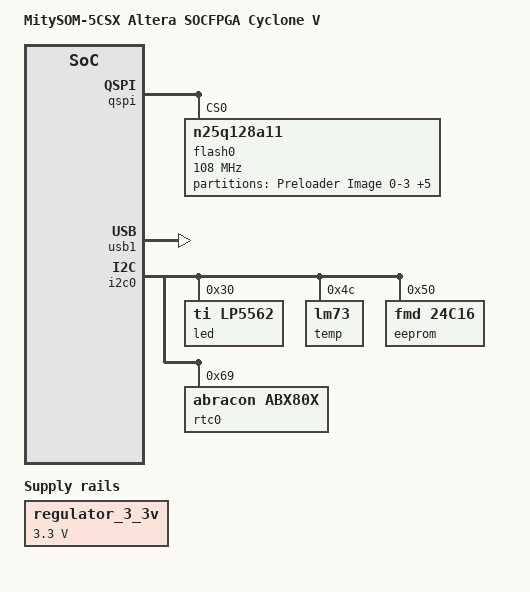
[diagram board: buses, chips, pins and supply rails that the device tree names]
/dts-v1/;
#include "socfpga.dtsi"
/ {
	model = "MitySOM-5CSX Altera SOCFPGA Cyclone V";
	compatible = "altr,socfpga-cyclone5", "altr,socfpga";

	chosen { };

	soc {
		clkmgr@ffd04000 {
			clocks {
				osc1 {
					clock-frequency = <25000000>;
				};
			};
		};

		hps_lw_bus: bus@0ff200000 {
			compatible = "simple-bus";
			reg = <0xFF200000 0x00200000>;
			#address-cells = <1>;
			#size-cells = <1>;
			ranges = <0x0 0xFF200000 0x00200000>;
			status = "disabled";
		};

		regulator_3_3v: 3-3-v-regulator{
			compatible = "regulator-fixed";
			regulator-name = "3.3V";
			regulator-min-microvolt = <3300000>;
			regulator-max-microvolt = <3300000>;
		};

		gpio@ff708000 {
			status = "okay";
		};

		gpio@ff709000 {
			status = "okay";
		}; 
		gpio@ff70a000 {
			status = "okay";
		};

		qspi: spi@ff705000 {
			status = "okay";
			flash0: nor@0 {
				#address-cells = <1>;
				#size-cells = <1>;
				compatible = "n25q128a11", "jedec,spi-nor";
				reg = <0>;      /* chip select */
				spi-max-frequency = <108000000>;
				m25p,fast-read;
				page-size = <256>;
				block-size = <16>; /* 2^16, 64KB */
				cdns,read-delay = <4>;  /* delay value in read data capture register */
				cdns,tshsl-ns = <50>;
				cdns,tsd2d-ns = <50>;
				cdns,tchsh-ns = <4>;
				cdns,tslch-ns = <4>;

				partition@qspi-preloader {
					/* 64 KB for preloader image 0-3. */
					label = "Preloader Image 0-3";
					reg = <0x0 0x40000>;
				};
				partition@qspi-ubootenv {
					/* 64 KB for u-Boot Env. */
					label = "U-Boot Env";
					reg = <0x40000 0x10000>;
				};
				partition@qspi-dtb {
					/* 64 KB for DTB */
					label = "DTB";
					reg = <0x50000 0x10000>;
				};
				partition@qspi-uboot {
					/* 512 KB for U-Boot */
					label = "U-Boot";
					reg = <0x60000 0x80000>;
				};
				partition@qspi-kernel {
					/* 8 MB for Kernel */
					label = "Kernel";
					reg = <0xE0000 0x800000>;
				};
				partition@qspi-rootfs {
					/* 7.125 MB for jffs2 data. */
					label = "FPGA";
					reg = <0x8E0000 0x720000>;
				};
			};

		};

		timer0@ffc08000 {
			clock-frequency = <100000000>;
		};

		timer1@ffc09000 {
			clock-frequency = <100000000>;
		};

		timer2@ffd00000 {
			clock-frequency = <25000000>;
		};

		timer3@ffd01000 {
			clock-frequency = <25000000>;
		};

		serial0@ffc02000 {
			clock-frequency = <100000000>;
		};

		serial1@ffc03000 {
			clock-frequency = <100000000>;
		};

		sysmgr@ffd08000 {
			cpu1-start-addr = <0xffd080c4>;
		};


		usb1: usb@ffb40000 {
			compatible = "snps,dwc2-vbus-ext";
			status = "okay";
		};

		watchdog0: watchdog@ffd02000 {
			status = "okay";
		};
		
		i2c0: i2c@ffc04000 {
			speed-mode = <0>;
			status = "okay";

			led@30 {
				compatible = "ti,lp5562";
				reg = <0x30>;
				clock-mode = /bits/8 <2>;

				chan0 {
					chan-name = "R";
					led-cur = /bits/ 8 <0x20>;
					max-cur = /bits/ 8 <0x60>;
				};

				chan1 {
					chan-name = "G";
					led-cur = /bits/ 8 <0x20>;
					max-cur = /bits/ 8 <0x60>;
				};

				chan2 {
					chan-name = "B";
					led-cur = /bits/ 8 <0x20>;
					max-cur = /bits/ 8 <0x60>;
				};

				chan3 {
					chan-name = "G1";
					led-cur = /bits/ 8 <0x20>;
					max-cur = /bits/ 8 <0x60>;
				};
			};
			temp@4C {
				compatible = "lm73";
				reg = <0x4C>;
			};
			eeprom@50 {
				compatible = "fmd,24c16";
				reg = <0x50>;
			};
			rtc0: rtc@69 {
				device_type = "rtc";
				compatible = "abracon,abx80x";
				reg = <0x69>;
			};
		};
	};
};
